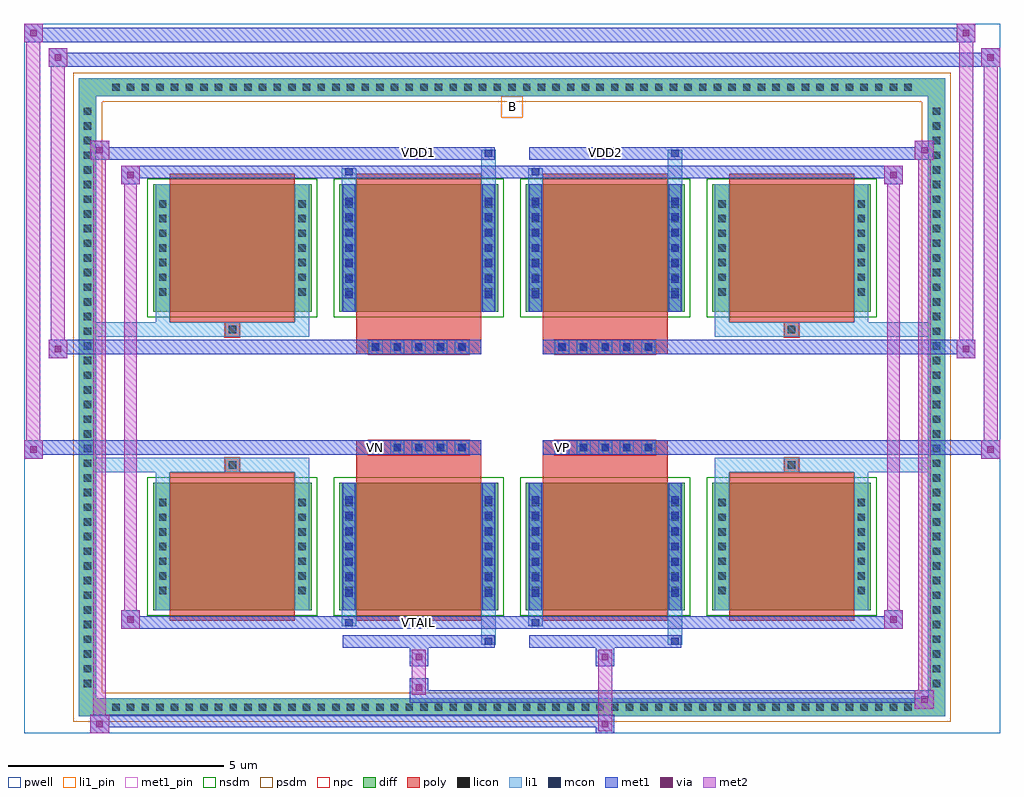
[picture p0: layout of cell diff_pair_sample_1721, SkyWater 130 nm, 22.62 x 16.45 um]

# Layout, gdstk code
import gdstk
lib = gdstk.Library(unit=1e-6, precision=5e-09)
def R(c, l, rs):  # rectangles x0, y0, x1, y1
    for r in rs: c.add(gdstk.rectangle(r[:2], r[2:], *l))
def A(c, l, x, y, w, h, nx, ny, dx, dy):  # array of equal rectangles
    R(c, l, [(x+i*dx, y+j*dy, x+i*dx+w, y+j*dy+h) for i in range(nx) for j in range(ny)])
def P(c, l, *ps):  # polygons
    for p in ps: c.add(gdstk.Polygon(p, *l))
pwell = (64, 44)
diff = (65, 20)
poly = (66, 20)
licon = (66, 44)
li1_pin = (67, 16)
li1 = (67, 20)
mcon = (67, 44)
met1_pin = (68, 16)
met1 = (68, 20)
via = (68, 44)
met2 = (69, 20)
nsdm = (93, 44)
psdm = (94, 20)
npc = (95, 20)

diff_pair_sample_1721 = lib.new_cell('diff_pair_sample_1721')
R(diff_pair_sample_1721, pwell, [(-11.31,-7.79,11.31,8.66), (-8.63,-5.98,-0.01,-0.8), (0.01,-5.98,8.63,-0.8), (-8.63,0.8,-0.01,5.98), (0.01,0.8,8.63,5.98)])
A(diff_pair_sample_1721, diff, -9.385, -7.39, 0.41, 0.41, 55, 2, 0.34, 14.37)
A(diff_pair_sample_1721, diff, -10.04, -6.835, 0.41, 0.41, 1, 40, 0, 0.34)
A(diff_pair_sample_1721, diff, 9.63, -6.835, 0.41, 0.41, 1, 40, 0, 0.34)
A(diff_pair_sample_1721, diff, -8.32, -4.935, 3.68, 2.95, 4, 2, 4.32, 6.92)
R(diff_pair_sample_1721, diff, [(-9.385,-7.39,9.385,-6.98), (-10.04,-6.835,-9.63,6.835), (9.63,-6.835,10.04,6.835), (-9.385,6.98,9.385,7.39)])
P(diff_pair_sample_1721, diff, [(10.04,7.39),(-10.04,7.39),(-10.04,-6.98),(-9.63,-6.98),(-9.63,6.98),(9.63,6.98),(9.63,-6.98),(-9.63,-6.98),(-10.04,-6.98),(-10.04,-7.39),(10.04,-7.39)])
A(diff_pair_sample_1721, poly, -7.93, -5.185, 2.9, 3.45, 4, 2, 4.32, 6.92)
A(diff_pair_sample_1721, poly, -3.325, -1.33, 0.33, 0.33, 5, 2, 0.5, 2.33)
A(diff_pair_sample_1721, poly, 0.995, -1.33, 0.33, 0.33, 5, 2, 0.5, 2.33)
R(diff_pair_sample_1721, poly, [(-6.645,-1.735,-6.315,-1.405), (-6.645,-1.735,-6.315,-1.405), (-3.61,-1.735,-0.71,-1.33), (0.71,-1.735,3.61,-1.33), (6.315,-1.735,6.645,-1.405), (6.315,-1.735,6.645,-1.405), (-3.61,-1.33,-0.71,-1), (0.71,-1.33,3.61,-1), (-3.61,1,-0.71,1.33), (0.71,1,3.61,1.33), (-3.61,1.33,-0.71,1.735), (0.71,1.33,3.61,1.735), (-6.645,1.405,-6.315,1.735), (-6.645,1.405,-6.315,1.735), (6.315,1.405,6.645,1.735), (6.315,1.405,6.645,1.735)])
A(diff_pair_sample_1721, licon, -9.265, -7.27, 0.17, 0.17, 55, 2, 0.34, 14.37)
A(diff_pair_sample_1721, licon, -9.92, -6.715, 0.17, 0.17, 1, 40, 0, 0.34)
A(diff_pair_sample_1721, licon, 9.75, -6.715, 0.17, 0.17, 1, 40, 0, 0.34)
A(diff_pair_sample_1721, licon, -8.18, -4.565, 0.17, 0.17, 1, 7, 0, 0.34)
A(diff_pair_sample_1721, licon, -4.95, -4.565, 0.17, 0.17, 1, 7, 0, 0.34)
A(diff_pair_sample_1721, licon, -3.86, -4.565, 0.17, 0.17, 1, 7, 0, 0.34)
A(diff_pair_sample_1721, licon, -0.63, -4.565, 0.17, 0.17, 1, 7, 0, 0.34)
A(diff_pair_sample_1721, licon, 0.46, -4.565, 0.17, 0.17, 1, 7, 0, 0.34)
A(diff_pair_sample_1721, licon, 3.69, -4.565, 0.17, 0.17, 1, 7, 0, 0.34)
A(diff_pair_sample_1721, licon, 4.78, -4.565, 0.17, 0.17, 1, 7, 0, 0.34)
A(diff_pair_sample_1721, licon, 8.01, -4.565, 0.17, 0.17, 1, 7, 0, 0.34)
A(diff_pair_sample_1721, licon, -3.245, -1.25, 0.17, 0.17, 5, 2, 0.5, 2.33)
A(diff_pair_sample_1721, licon, 1.075, -1.25, 0.17, 0.17, 5, 2, 0.5, 2.33)
A(diff_pair_sample_1721, licon, -8.18, 2.355, 0.17, 0.17, 1, 7, 0, 0.34)
A(diff_pair_sample_1721, licon, -4.95, 2.355, 0.17, 0.17, 1, 7, 0, 0.34)
A(diff_pair_sample_1721, licon, -3.86, 2.355, 0.17, 0.17, 1, 7, 0, 0.34)
A(diff_pair_sample_1721, licon, -0.63, 2.355, 0.17, 0.17, 1, 7, 0, 0.34)
A(diff_pair_sample_1721, licon, 0.46, 2.355, 0.17, 0.17, 1, 7, 0, 0.34)
A(diff_pair_sample_1721, licon, 3.69, 2.355, 0.17, 0.17, 1, 7, 0, 0.34)
A(diff_pair_sample_1721, licon, 4.78, 2.355, 0.17, 0.17, 1, 7, 0, 0.34)
A(diff_pair_sample_1721, licon, 8.01, 2.355, 0.17, 0.17, 1, 7, 0, 0.34)
R(diff_pair_sample_1721, licon, [(-6.565,-1.655,-6.395,-1.485), (6.395,-1.655,6.565,-1.485), (-6.565,1.485,-6.395,1.655), (6.395,1.485,6.565,1.655)])
R(diff_pair_sample_1721, li1_pin, [(-0.25,6.48,0.25,6.98)])
A(diff_pair_sample_1721, li1, -9.345, -7.35, 0.33, 0.33, 55, 2, 0.34, 14.37)
A(diff_pair_sample_1721, li1, -10, -6.795, 0.33, 0.33, 1, 40, 0, 0.34)
A(diff_pair_sample_1721, li1, 9.67, -6.795, 0.33, 0.33, 1, 40, 0, 0.34)
A(diff_pair_sample_1721, li1, -8.26, -4.645, 0.33, 0.33, 1, 7, 0, 0.34)
A(diff_pair_sample_1721, li1, -5.03, -4.645, 0.33, 0.33, 1, 7, 0, 0.34)
A(diff_pair_sample_1721, li1, -3.94, -4.645, 0.33, 0.33, 1, 7, 0, 0.34)
A(diff_pair_sample_1721, li1, -0.71, -4.645, 0.33, 0.33, 1, 7, 0, 0.34)
A(diff_pair_sample_1721, li1, 0.38, -4.645, 0.33, 0.33, 1, 7, 0, 0.34)
A(diff_pair_sample_1721, li1, 3.61, -4.645, 0.33, 0.33, 1, 7, 0, 0.34)
A(diff_pair_sample_1721, li1, 4.7, -4.645, 0.33, 0.33, 1, 7, 0, 0.34)
A(diff_pair_sample_1721, li1, 7.93, -4.645, 0.33, 0.33, 1, 7, 0, 0.34)
A(diff_pair_sample_1721, li1, -3.86, -4.625, 0.17, 0.17, 1, 7, 0, 0.36)
A(diff_pair_sample_1721, li1, -0.63, -4.625, 0.17, 0.17, 1, 7, 0, 0.36)
A(diff_pair_sample_1721, li1, 0.46, -4.625, 0.17, 0.17, 1, 7, 0, 0.36)
A(diff_pair_sample_1721, li1, 3.69, -4.625, 0.17, 0.17, 1, 7, 0, 0.36)
A(diff_pair_sample_1721, li1, -3.325, -1.33, 0.33, 0.33, 5, 2, 0.5, 2.33)
A(diff_pair_sample_1721, li1, 0.995, -1.33, 0.33, 0.33, 5, 2, 0.5, 2.33)
A(diff_pair_sample_1721, li1, -8.26, 2.275, 0.33, 0.33, 1, 7, 0, 0.34)
A(diff_pair_sample_1721, li1, -5.03, 2.275, 0.33, 0.33, 1, 7, 0, 0.34)
A(diff_pair_sample_1721, li1, -3.94, 2.275, 0.33, 0.33, 1, 7, 0, 0.34)
A(diff_pair_sample_1721, li1, -0.71, 2.275, 0.33, 0.33, 1, 7, 0, 0.34)
A(diff_pair_sample_1721, li1, 0.38, 2.275, 0.33, 0.33, 1, 7, 0, 0.34)
A(diff_pair_sample_1721, li1, 3.61, 2.275, 0.33, 0.33, 1, 7, 0, 0.34)
A(diff_pair_sample_1721, li1, 4.7, 2.275, 0.33, 0.33, 1, 7, 0, 0.34)
A(diff_pair_sample_1721, li1, 7.93, 2.275, 0.33, 0.33, 1, 7, 0, 0.34)
A(diff_pair_sample_1721, li1, -3.86, 2.295, 0.17, 0.17, 1, 7, 0, 0.36)
A(diff_pair_sample_1721, li1, -0.63, 2.295, 0.17, 0.17, 1, 7, 0, 0.36)
A(diff_pair_sample_1721, li1, 0.46, 2.295, 0.17, 0.17, 1, 7, 0, 0.36)
A(diff_pair_sample_1721, li1, 3.69, 2.295, 0.17, 0.17, 1, 7, 0, 0.36)
R(diff_pair_sample_1721, li1, [(-10.04,-7.39,-9.63,-6.98), (-10.04,-7.39,-9.63,-6.98), (-9.63,-7.39,9.63,-6.98), (9.63,-7.39,10.04,-6.98), (9.63,-7.39,10.04,-6.98), (-10.04,-6.98,-9.63,6.98), (9.63,-6.98,10.04,6.98), (-0.71,-5.74,-0.38,-4.935), (-0.63,-5.74,-0.46,-5.57), (3.61,-5.74,3.94,-4.935), (3.69,-5.74,3.86,-5.57), (-3.94,-5.31,-3.61,-4.935), (-3.86,-5.31,-3.69,-5.14), (0.38,-5.31,0.71,-4.935), (0.46,-5.31,0.63,-5.14), (-8.26,-4.935,-7.93,-1.985), (-5.03,-4.935,-4.7,-1.985), (-3.94,-4.935,-3.61,-1.985), (-0.71,-4.935,-0.38,-1.985), (0.38,-4.935,0.71,-1.985), (3.61,-4.935,3.94,-1.985), (4.7,-4.935,5.03,-1.985), (7.93,-4.935,8.26,-1.985), (-3.86,-4.625,-3.69,-2.295), (-0.63,-4.625,-0.46,-2.295), (0.46,-4.625,0.63,-2.295), (3.69,-4.625,3.86,-2.295), (-8.26,-1.985,-7.93,-1.405), (-5.03,-1.985,-4.7,-1.405), (4.7,-1.985,5.03,-1.405), (7.93,-1.985,8.26,-1.405), (-10.04,-1.735,-6.645,-1.405), (-8.26,-1.735,-6.645,-1.405), (-6.645,-1.735,-6.315,-1.405), (-6.315,-1.735,-4.7,-1.405), (4.7,-1.735,6.315,-1.405), (6.315,-1.735,6.645,-1.405), (6.315,-1.735,10.04,-1.405), (6.645,-1.735,8.26,-1.405), (-10.04,1.405,-6.645,1.735), (-8.26,1.405,-6.645,1.735), (-8.26,1.405,-7.93,1.985), (-6.645,1.405,-6.315,1.735), (-6.315,1.405,-4.7,1.735), (-5.03,1.405,-4.7,1.985), (4.7,1.405,6.315,1.735), (4.7,1.405,5.03,1.985), (6.315,1.405,6.645,1.735), (6.315,1.405,10.04,1.735), (6.645,1.405,8.26,1.735), (7.93,1.405,8.26,1.985), (-8.26,1.985,-7.93,4.935), (-5.03,1.985,-4.7,4.935), (-3.94,1.985,-3.61,4.935), (-0.71,1.985,-0.38,4.935), (0.38,1.985,0.71,4.935), (3.61,1.985,3.94,4.935), (4.7,1.985,5.03,4.935), (7.93,1.985,8.26,4.935), (-3.86,2.295,-3.69,4.625), (-0.63,2.295,-0.46,4.625), (0.46,2.295,0.63,4.625), (3.69,2.295,3.86,4.625), (-3.94,4.935,-3.61,5.31), (-0.71,4.935,-0.38,5.74), (0.38,4.935,0.71,5.31), (3.61,4.935,3.94,5.74), (-3.86,5.14,-3.69,5.31), (0.46,5.14,0.63,5.31), (-0.63,5.57,-0.46,5.74), (3.69,5.57,3.86,5.74), (-10.04,6.98,-9.63,7.39), (-10.04,6.98,-9.63,7.39), (-9.63,6.98,9.63,7.39), (9.63,6.98,10.04,7.39), (9.63,6.98,10.04,7.39)])
A(diff_pair_sample_1721, mcon, -3.86, -4.625, 0.17, 0.17, 1, 7, 0, 0.36)
A(diff_pair_sample_1721, mcon, -0.63, -4.625, 0.17, 0.17, 1, 7, 0, 0.36)
A(diff_pair_sample_1721, mcon, 0.46, -4.625, 0.17, 0.17, 1, 7, 0, 0.36)
A(diff_pair_sample_1721, mcon, 3.69, -4.625, 0.17, 0.17, 1, 7, 0, 0.36)
A(diff_pair_sample_1721, mcon, -3.245, -1.25, 0.17, 0.17, 5, 2, 0.5, 2.33)
A(diff_pair_sample_1721, mcon, 1.075, -1.25, 0.17, 0.17, 5, 2, 0.5, 2.33)
A(diff_pair_sample_1721, mcon, -3.86, 2.295, 0.17, 0.17, 1, 7, 0, 0.36)
A(diff_pair_sample_1721, mcon, -0.63, 2.295, 0.17, 0.17, 1, 7, 0, 0.36)
A(diff_pair_sample_1721, mcon, 0.46, 2.295, 0.17, 0.17, 1, 7, 0, 0.36)
A(diff_pair_sample_1721, mcon, 3.69, 2.295, 0.17, 0.17, 1, 7, 0, 0.36)
R(diff_pair_sample_1721, mcon, [(-0.63,-5.74,-0.46,-5.57), (3.69,-5.74,3.86,-5.57), (-3.86,-5.31,-3.69,-5.14), (0.46,-5.31,0.63,-5.14), (-3.86,5.14,-3.69,5.31), (0.46,5.14,0.63,5.31), (-0.63,5.57,-0.46,5.74), (3.69,5.57,3.86,5.74)])
R(diff_pair_sample_1721, met1_pin, [(-2.295,-5.35,-2.025,-5.08), (-3.295,-1.29,-3.025,-1.02), (1.025,-1.29,1.295,-1.02), (-2.295,5.53,-2.025,5.8), (2.025,5.53,2.295,5.8)])
A(diff_pair_sample_1721, met1, -3.92, -4.685, 0.29, 0.29, 1, 7, 0, 0.36)
A(diff_pair_sample_1721, met1, -0.69, -4.685, 0.29, 0.29, 1, 7, 0, 0.36)
A(diff_pair_sample_1721, met1, 0.4, -4.685, 0.29, 0.29, 1, 7, 0, 0.36)
A(diff_pair_sample_1721, met1, 3.63, -4.685, 0.29, 0.29, 1, 7, 0, 0.36)
A(diff_pair_sample_1721, met1, -3.305, -1.31, 0.29, 0.29, 5, 2, 0.5, 2.33)
A(diff_pair_sample_1721, met1, 1.015, -1.31, 0.29, 0.29, 5, 2, 0.5, 2.33)
A(diff_pair_sample_1721, met1, -3.92, 2.235, 0.29, 0.29, 1, 7, 0, 0.36)
A(diff_pair_sample_1721, met1, -0.69, 2.235, 0.29, 0.29, 1, 7, 0, 0.36)
A(diff_pair_sample_1721, met1, 0.4, 2.235, 0.29, 0.29, 1, 7, 0, 0.36)
A(diff_pair_sample_1721, met1, 3.63, 2.235, 0.29, 0.29, 1, 7, 0, 0.36)
R(diff_pair_sample_1721, met1, [(-9.77,-7.79,-9.34,-7.36), (1.945,-7.79,2.375,-7.36), (-9.77,-7.65,2.375,-7.36), (9.34,-7.22,9.77,-6.79), (-2.375,-7.08,9.77,-6.79), (-2.375,-6.94,-1.945,-6.51), (-2.375,-6.23,-1.945,-5.8), (1.945,-6.23,2.375,-5.8), (-3.92,-5.8,-0.4,-5.51), (-0.69,-5.8,-0.4,-5.51), (0.4,-5.8,3.92,-5.51), (3.63,-5.8,3.92,-5.51), (-9.06,-5.37,-8.63,-4.94), (-9.06,-5.37,-3.92,-5.08), (-3.92,-5.37,-3.63,-5.08), (-3.92,-5.37,-0.4,-5.08), (-0.4,-5.37,0.4,-5.08), (0.4,-5.37,0.69,-5.08), (0.4,-5.37,3.92,-5.08), (3.92,-5.37,9.06,-5.08), (8.63,-5.37,9.06,-4.94), (-3.92,-4.935,-3.63,-1.985), (-0.69,-4.935,-0.4,-1.985), (0.4,-4.935,0.69,-1.985), (3.63,-4.935,3.92,-1.985), (-11.31,-1.43,-10.88,-1), (10.88,-1.43,11.31,-1), (-11.31,-1.33,-0.71,-1), (-3.61,-1.33,-0.71,-1), (0.71,-1.33,3.61,-1), (0.71,-1.33,11.31,-1), (-10.74,0.9,-10.31,1.33), (10.31,0.9,10.74,1.33), (-10.74,1,-3.61,1.33), (-3.61,1,-0.71,1.33), (0.71,1,3.61,1.33), (3.61,1,10.74,1.33), (-3.92,1.985,-3.63,4.935), (-0.69,1.985,-0.4,4.935), (0.4,1.985,0.69,4.935), (3.63,1.985,3.92,4.935), (-9.06,4.94,-8.63,5.37), (8.63,4.94,9.06,5.37), (-9.06,5.08,-3.92,5.37), (-3.92,5.08,-3.63,5.37), (-3.92,5.08,-0.4,5.37), (-0.4,5.08,0.4,5.37), (0.4,5.08,0.69,5.37), (0.4,5.08,3.92,5.37), (3.92,5.08,9.06,5.37), (-9.77,5.51,-9.34,5.94), (-9.77,5.51,-3.92,5.8), (-3.92,5.51,-0.4,5.8), (-0.69,5.51,-0.4,5.8), (0.4,5.51,3.92,5.8), (3.63,5.51,3.92,5.8), (3.92,5.51,9.77,5.8), (9.34,5.51,9.77,5.94), (-10.74,7.66,-10.31,8.09), (-10.74,7.66,-8.63,7.99), (-8.63,7.66,8.63,7.99), (8.63,7.66,11.31,7.99), (10.88,7.66,11.31,8.09), (-11.31,8.23,-10.88,8.66), (-11.31,8.23,-8.63,8.56), (-8.63,8.23,8.63,8.56), (8.63,8.23,10.74,8.56), (10.31,8.23,10.74,8.66)])
R(diff_pair_sample_1721, via, [(-9.63,-7.65,-9.48,-7.5), (2.085,-7.65,2.235,-7.5), (9.48,-7.08,9.63,-6.93), (-2.235,-6.8,-2.085,-6.65), (-2.235,-6.09,-2.085,-5.94), (2.085,-6.09,2.235,-5.94), (-8.92,-5.23,-8.77,-5.08), (8.77,-5.23,8.92,-5.08), (-11.17,-1.29,-11.02,-1.14), (11.02,-1.29,11.17,-1.14), (-10.6,1.04,-10.45,1.19), (10.45,1.04,10.6,1.19), (-8.92,5.08,-8.77,5.23), (8.77,5.08,8.92,5.23), (-9.63,5.65,-9.48,5.8), (9.48,5.65,9.63,5.8), (-10.6,7.8,-10.45,7.95), (11.02,7.8,11.17,7.95), (-11.17,8.37,-11.02,8.52), (10.45,8.37,10.6,8.52)])
R(diff_pair_sample_1721, met2, [(-9.77,-7.79,-9.34,-7.36), (-9.7,-7.79,-9.41,5.94), (-9.41,-7.79,-9.34,-7.36), (-9.72,-7.74,-9.39,-7.41), (1.995,-7.74,2.325,-7.41), (1.995,-7.41,2.325,-6.18), (9.34,-7.22,9.77,-6.79), (9.41,-7.22,9.7,5.94), (9.7,-7.22,9.77,-6.79), (9.39,-7.17,9.72,-6.84), (-2.325,-6.89,-1.995,-6.56), (-2.325,-6.56,-1.995,-6.18), (-2.325,-6.18,-1.995,-5.85), (1.995,-6.18,2.325,-5.85), (-9.06,-5.37,-8.63,-4.94), (-8.99,-5.37,-8.7,5.37), (-8.7,-5.37,-8.63,-4.94), (8.63,-5.37,9.06,-4.94), (8.7,-5.37,8.99,5.37), (8.99,-5.37,9.06,-4.94), (-9.01,-5.32,-8.68,-4.99), (8.68,-5.32,9.01,-4.99), (-11.31,-1.43,-10.88,-1), (-11.26,-1.43,-10.93,8.66), (-10.93,-1.43,-10.88,-1), (10.88,-1.43,11.31,-1), (10.93,-1.43,11.26,8.09), (11.26,-1.43,11.31,-1), (-11.26,-1.38,-10.93,-1.05), (10.93,-1.38,11.26,-1.05), (-10.74,0.9,-10.31,1.33), (-10.69,0.9,-10.36,8.09), (-10.36,0.9,-10.31,1.33), (10.31,0.9,10.74,1.33), (10.36,0.9,10.69,8.66), (10.69,0.9,10.74,1.33), (-10.69,0.95,-10.36,1.28), (10.36,0.95,10.69,1.28), (-9.06,4.94,-8.63,5.37), (-8.7,4.94,-8.63,5.37), (8.63,4.94,9.06,5.37), (8.99,4.94,9.06,5.37), (-9.01,4.99,-8.68,5.32), (8.68,4.99,9.01,5.32), (-9.77,5.51,-9.34,5.94), (-9.41,5.51,-9.34,5.94), (9.34,5.51,9.77,5.94), (9.7,5.51,9.77,5.94), (-9.72,5.56,-9.39,5.89), (9.39,5.56,9.72,5.89), (-10.74,7.66,-10.31,8.09), (-10.36,7.66,-10.31,8.09), (10.88,7.66,11.31,8.09), (11.26,7.66,11.31,8.09), (-10.69,7.71,-10.36,8.04), (10.93,7.71,11.26,8.04), (-11.31,8.23,-10.88,8.66), (-10.93,8.23,-10.88,8.66), (10.31,8.23,10.74,8.66), (10.69,8.23,10.74,8.66), (-11.26,8.28,-10.93,8.61), (10.36,8.28,10.69,8.61)])
A(diff_pair_sample_1721, nsdm, -8.45, -5.065, 3.94, 3.21, 4, 2, 4.32, 6.92)
P(diff_pair_sample_1721, psdm, [(10.17,7.52),(-10.17,7.52),(-10.17,-6.85),(-9.5,-6.85),(-9.5,6.85),(9.5,6.85),(9.5,-6.85),(-9.5,-6.85),(-10.17,-6.85),(-10.17,-7.52),(10.17,-7.52)])
A(diff_pair_sample_1721, npc, -3.345, -1.35, 0.37, 0.37, 5, 2, 0.5, 2.33)
A(diff_pair_sample_1721, npc, 0.975, -1.35, 0.37, 0.37, 5, 2, 0.5, 2.33)
R(diff_pair_sample_1721, npc, [(-6.665,-1.755,-6.295,-1.385), (6.295,-1.755,6.665,-1.385), (-3.345,-1.35,-2.475,-0.98), (-3.345,-1.35,-2.475,-0.98), (-2.845,-1.35,-1.975,-0.98), (-2.845,-1.35,-1.975,-0.98), (-2.345,-1.35,-1.475,-0.98), (-2.345,-1.35,-1.475,-0.98), (-1.845,-1.35,-0.975,-0.98), (-1.845,-1.35,-0.975,-0.98), (0.975,-1.35,1.845,-0.98), (0.975,-1.35,1.845,-0.98), (1.475,-1.35,2.345,-0.98), (1.475,-1.35,2.345,-0.98), (1.975,-1.35,2.845,-0.98), (1.975,-1.35,2.845,-0.98), (2.475,-1.35,3.345,-0.98), (2.475,-1.35,3.345,-0.98), (-3.345,0.98,-2.475,1.35), (-3.345,0.98,-2.475,1.35), (-2.845,0.98,-1.975,1.35), (-2.845,0.98,-1.975,1.35), (-2.345,0.98,-1.475,1.35), (-2.345,0.98,-1.475,1.35), (-1.845,0.98,-0.975,1.35), (-1.845,0.98,-0.975,1.35), (0.975,0.98,1.845,1.35), (0.975,0.98,1.845,1.35), (1.475,0.98,2.345,1.35), (1.475,0.98,2.345,1.35), (1.975,0.98,2.845,1.35), (1.975,0.98,2.845,1.35), (2.475,0.98,3.345,1.35), (2.475,0.98,3.345,1.35), (-6.665,1.385,-6.295,1.755), (6.295,1.385,6.665,1.755)])
diff_pair_sample_1721.add(gdstk.Label('VTAIL', (-2.16,-5.215), layer=68, texttype=5))
diff_pair_sample_1721.add(gdstk.Label('VN', (-3.16,-1.155), layer=68, texttype=5))
diff_pair_sample_1721.add(gdstk.Label('VP', (1.16,-1.155), layer=68, texttype=5))
diff_pair_sample_1721.add(gdstk.Label('B', (0,6.73), layer=67, texttype=5))
diff_pair_sample_1721.add(gdstk.Label('VDD2', (2.16,5.665), layer=68, texttype=5))
diff_pair_sample_1721.add(gdstk.Label('VDD1', (-2.16,5.665), layer=68, texttype=5))

lib.write_gds('diff_pair_sample_1721.gds')
